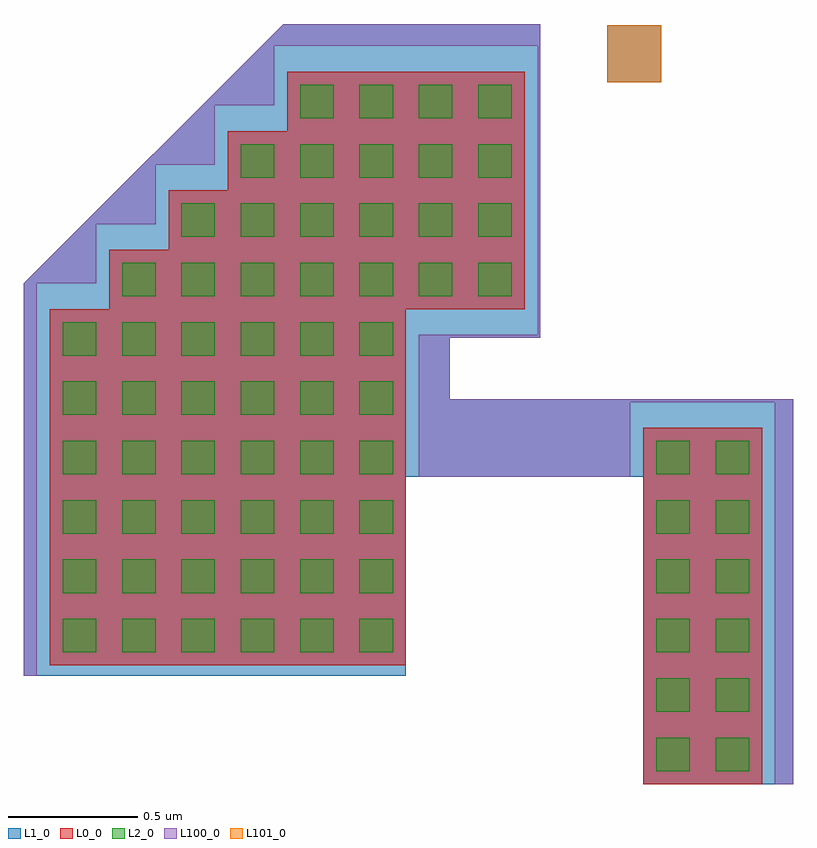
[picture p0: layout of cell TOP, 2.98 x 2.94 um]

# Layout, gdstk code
import gdstk
lib = gdstk.Library(unit=1e-6, precision=1e-09)
def R(c, l, rs):  # rectangles x0, y0, x1, y1
    for r in rs: c.add(gdstk.rectangle(r[:2], r[2:], *l))
def P(c, l, *ps):  # polygons
    for p in ps: c.add(gdstk.Polygon(p, *l))
L0_0 = (0, 0)
L1_0 = (1, 0)
L2_0 = (2, 0)
L100_0 = (100, 0)
L101_0 = (101, 0)

fill_cell = lib.new_cell('FILL_CELL')
R(fill_cell, L0_0, [(-0.1,-0.13,0.13,0.1)])
R(fill_cell, L2_0, [(-0.05,-0.08,0.08,0.05)])

top = lib.new_cell('TOP')
R(top, L1_0, [(1.76,1.79,1.97,2.01)])
P(top, L1_0, [(1.9,-0.93),(1.9,0.26),(0.98,0.26),(0.98,-0.51),(-0.5,-0.51),(-0.5,1.01),(0.505,2.015),(1.5,2.015),(1.5,0.8),(1.15,0.8),(1.15,0.56),(2.48,0.56),(2.48,-0.93)])
P(top, L100_0, [(2.41,-0.93),(2.41,0.55),(1.85,0.55),(1.85,0.26),(1.03,0.26),(1.03,0.81),(1.49,0.81),(1.49,1.93),(0.47,1.93),(0.47,1.7),(0.24,1.7),(0.24,1.47),(0.01,1.47),(0.01,1.24),(-0.22,1.24),(-0.22,1.01),(-0.45,1.01),(-0.45,-0.51),(-0.5,-0.51),(-0.5,1.01),(0.505,2.015),(1.5,2.015),(1.5,0.8),(1.15,0.8),(1.15,0.56),(2.48,0.56),(2.48,-0.93)])
R(top, L101_0, [(1.76,1.79,1.97,2.01)])
r = gdstk.Reference(fill_cell, (-0.3,-0.34)); r.repetition = gdstk.Repetition(1, 6, v1=(0,0), v2=(0,0.23)); top.add(r)
r = gdstk.Reference(fill_cell, (-0.07,-0.34)); r.repetition = gdstk.Repetition(1, 7, v1=(0,0), v2=(0,0.23)); top.add(r)
r = gdstk.Reference(fill_cell, (0.16,-0.34)); r.repetition = gdstk.Repetition(1, 8, v1=(0,0), v2=(0,0.23)); top.add(r)
r = gdstk.Reference(fill_cell, (0.39,-0.34)); r.repetition = gdstk.Repetition(1, 9, v1=(0,0), v2=(0,0.23)); top.add(r)
r = gdstk.Reference(fill_cell, (0.62,-0.34)); r.repetition = gdstk.Repetition(1, 10, v1=(0,0), v2=(0,0.23)); top.add(r)
r = gdstk.Reference(fill_cell, (0.85,-0.34)); r.repetition = gdstk.Repetition(1, 10, v1=(0,0), v2=(0,0.23)); top.add(r)
r = gdstk.Reference(fill_cell, (1.08,1.04)); r.repetition = gdstk.Repetition(1, 4, v1=(0,0), v2=(0,0.23)); top.add(r)
r = gdstk.Reference(fill_cell, (1.31,1.04)); r.repetition = gdstk.Repetition(1, 4, v1=(0,0), v2=(0,0.23)); top.add(r)
r = gdstk.Reference(fill_cell, (2,-0.8)); r.repetition = gdstk.Repetition(1, 6, v1=(0,0), v2=(0,0.23)); top.add(r)
r = gdstk.Reference(fill_cell, (2.23,-0.8)); r.repetition = gdstk.Repetition(1, 6, v1=(0,0), v2=(0,0.23)); top.add(r)

lib.write_gds('TOP.gds')
